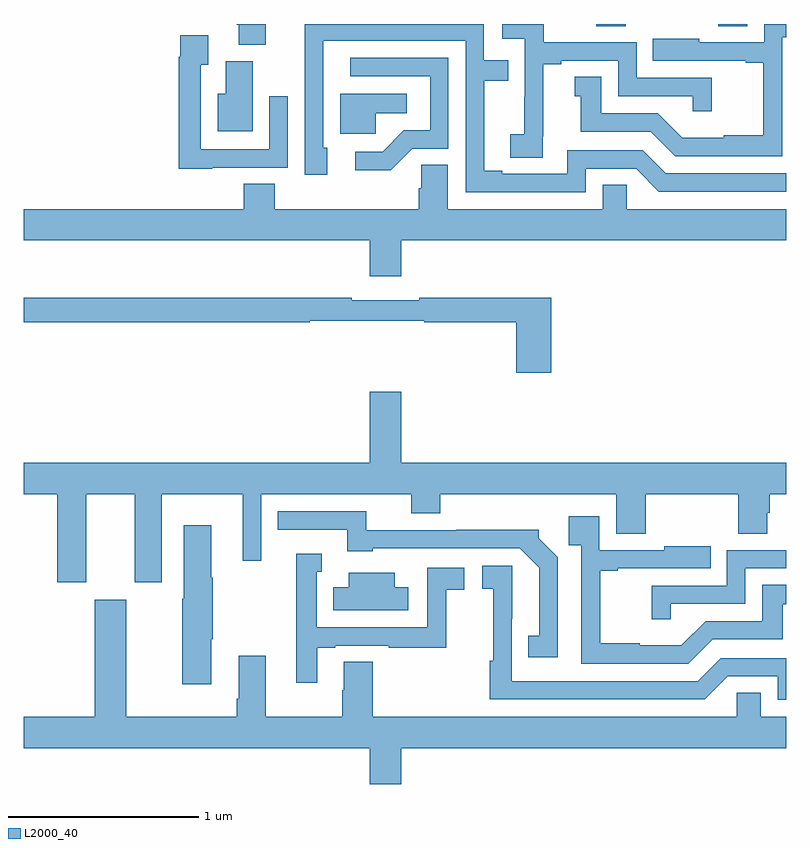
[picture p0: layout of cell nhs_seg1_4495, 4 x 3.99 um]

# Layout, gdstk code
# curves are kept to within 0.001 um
import gdstk
lib = gdstk.Library(unit=1e-6, precision=1e-09)
def R(c, l, rs):  # rectangles x0, y0, x1, y1
    for r in rs: c.add(gdstk.rectangle(r[:2], r[2:], *l))
def P(c, l, *ps):  # polygons
    for p in ps: c.add(gdstk.Polygon(p, *l))
L2000_40 = (2000, 40)

nhs_seg1_4495 = lib.new_cell('nhs_seg1_4495')
R(nhs_seg1_4495, L2000_40, [(358.004,554.188,358.157,554.199), (358.643,554.188,358.795,554.199)])
P(nhs_seg1_4495, L2000_40, [(356.269,554.199),(356.117,554.199),(356.117,554.194),(356.129,554.194),(356.129,554.089),(356.269,554.089)],
  [(358.98,554.129),(359,554.129),(359,554.199),(358.884,554.199),(358.884,554.103),(358.543,554.103),(358.543,554.122),(358.3,554.122),(358.3,554.007),(358.787,554.007),(358.787,553.995),(358.879,553.995),(358.879,553.615),(358.673,553.615),(358.673,553.603),(358.454,553.603),(358.326,553.731),(358.03,553.731),(358.03,553.922),(357.89,553.922),(357.89,553.819),(357.923,553.819),(357.923,553.635),(358.29,553.635),(358.419,553.506),(358.98,553.506)],
  [(357.722,553.609),(357.724,553.609),(357.724,553.987),(357.82,553.987),(357.82,554.007),(358.119,554.007),(358.119,553.821),(358.509,553.821),(358.509,553.74),(358.61,553.74),(358.61,553.917),(358.215,553.917),(358.215,554.103),(357.728,554.103),(357.728,554.199),(357.51,554.199),(357.51,554.121),(357.627,554.121),(357.627,553.817),(357.626,553.817),(357.626,553.62),(357.552,553.62),(357.552,553.498),(357.722,553.498)],
  [(357.948,553.44),(358.212,553.44),(358.332,553.32),(359,553.32),(359,553.416),(358.368,553.416),(358.248,553.536),(357.852,553.536),(357.852,553.413),(357.511,553.413),(357.511,553.428),(357.415,553.428),(357.415,553.902),(357.542,553.902),(357.542,554.01),(357.414,554.01),(357.414,554.199),(356.474,554.199),(356.475,553.407),(356.593,553.407),(356.593,553.551),(356.571,553.551),(356.571,554.112),(357.318,554.112),(357.318,553.317),(357.948,553.317)],
  [(355.989,553.446),(356.385,553.446),(356.385,553.819),(356.289,553.819),(356.289,553.542),(355.929,553.542),(355.929,553.984),(355.969,553.984),(355.969,554.14),(355.821,554.14),(355.821,554.027),(355.813,554.027),(355.813,553.439),(355.989,553.439)],
  [(357.039,553.545),(357.228,553.545),(357.228,554.022),(356.712,554.022),(356.712,553.926),(357.132,553.926),(357.132,553.641),(356.994,553.641),(356.883,553.53),(356.739,553.53),(356.739,553.433),(356.926,553.433)],
  [(356.2,554.004),(356.06,554.004),(356.06,553.834),(356.018,553.834),(356.018,553.637),(356.2,553.637)],
  [(356.847,553.73),(357.01,553.73),(357.01,553.834),(356.66,553.834),(356.66,553.623),(356.847,553.623)],
  [(356.98,553.064),(359,553.064),(359,553.228),(358.164,553.228),(358.164,553.355),(358.037,553.355),(358.037,553.228),(357.223,553.228),(357.223,553.46),(357.084,553.46),(357.084,553.337),(357.071,553.337),(357.071,553.228),(356.318,553.228),(356.318,553.361),(356.153,553.361),(356.153,553.228),(355,553.228),(355,553.064),(356.816,553.064),(356.816,552.876),(356.98,552.876)],
  [(357.767,552.763),(357.076,552.763),(357.076,552.75),(356.72,552.75),(356.72,552.763),(355,552.763),(355,552.634),(356.5,552.634),(356.5,552.642),(357.1,552.642),(357.1,552.634),(357.584,552.634),(357.584,552.369),(357.767,552.369)],
  [(356.98,552.271),(356.816,552.271),(356.816,551.896),(355,551.896),(355,551.732),(355.175,551.732),(355.175,551.271),(355.327,551.271),(355.327,551.732),(355.583,551.732),(355.583,551.271),(355.723,551.271),(355.723,551.732),(356.15,551.732),(356.15,551.382),(356.247,551.382),(356.247,551.732),(357.032,551.732),(357.032,551.633),(357.185,551.633),(357.185,551.732),(358.109,551.732),(358.109,551.524),(358.262,551.524),(358.262,551.732),(358.748,551.732),(358.748,551.524),(358.9,551.524),(358.9,551.634),(358.913,551.634),(358.913,551.732),(359,551.732),(359,551.896),(356.98,551.896)],
  [(357.801,551.402),(357.702,551.501),(357.702,551.546),(357.268,551.546),(357.268,551.544),(356.796,551.544),(356.796,551.643),(356.332,551.643),(356.332,551.547),(356.696,551.547),(356.696,551.432),(356.832,551.432),(356.832,551.448),(357.603,551.448),(357.704,551.347),(357.704,550.991),(357.646,550.991),(357.646,550.878),(357.801,550.878)],
  [(358.614,550.971),(358.981,550.971),(358.981,551.155),(359,551.155),(359,551.258),(358.874,551.258),(358.874,551.067),(358.578,551.067),(358.45,550.939),(358.232,550.939),(358.232,550.951),(358.025,550.951),(358.025,551.331),(358.117,551.331),(358.117,551.343),(358.604,551.343),(358.604,551.458),(358.361,551.458),(358.361,551.439),(358.02,551.439),(358.02,551.617),(357.859,551.617),(357.859,551.465),(357.924,551.465),(357.924,550.842),(358.485,550.842)],
  [(355.984,550.972),(355.992,550.972),(355.992,551.294),(355.984,551.294),(355.984,551.569),(355.838,551.569),(355.838,551.183),(355.831,551.183),(355.831,550.734),(355.984,550.734)],
  [(358.395,551.157),(358.785,551.157),(358.785,551.343),(359,551.343),(359,551.439),(358.689,551.439),(358.689,551.253),(358.294,551.253),(358.294,551.076),(358.395,551.076)],
  [(356.539,550.926),(356.635,550.926),(356.635,550.938),(356.914,550.938),(356.914,550.926),(357.216,550.926),(357.216,551.23),(357.31,551.23),(357.31,551.346),(357.117,551.346),(357.117,551.034),(356.538,551.034),(356.538,551.325),(356.563,551.325),(356.563,551.419),(356.43,551.419),(356.43,550.987),(356.429,550.987),(356.429,550.743),(356.539,550.743)],
  [(359,550.872),(358.656,550.872),(358.536,550.752),(357.561,550.752),(357.562,551.356),(357.405,551.356),(357.405,551.235),(357.463,551.235),(357.463,550.859),(357.445,550.859),(357.445,550.656),(358.572,550.656),(358.692,550.776),(358.956,550.776),(358.956,550.653),(359,550.653)],
  [(357.016,551.245),(356.947,551.245),(356.947,551.32),(356.705,551.32),(356.705,551.245),(356.623,551.245),(356.623,551.123),(357.016,551.123)],
  [(356.98,550.4),(359,550.4),(359,550.564),(358.867,550.564),(358.867,550.691),(358.74,550.691),(358.74,550.564),(356.831,550.564),(356.831,550.853),(356.678,550.853),(356.678,550.703),(356.671,550.703),(356.671,550.564),(356.269,550.564),(356.269,550.885),(356.129,550.885),(356.129,550.66),(356.117,550.66),(356.117,550.564),(355.537,550.564),(355.537,551.179),(355.373,551.179),(355.373,550.564),(355,550.564),(355,550.4),(356.816,550.4),(356.816,550.212),(356.98,550.212)])

lib.write_gds('nhs_seg1_4495.gds')
